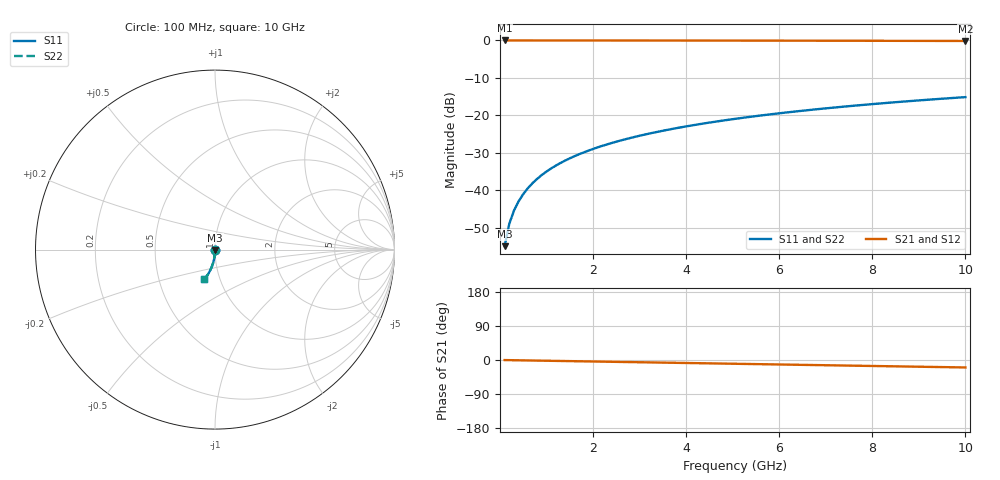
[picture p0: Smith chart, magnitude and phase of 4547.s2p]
# Hz S RI R 50.00
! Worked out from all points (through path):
!   100 points, 100 MHz to 10 GHz, reference 50 ohm
!   highest |S21| = 0.00 dB at 100 MHz (marker M1); lowest = -0.1 dB at 10 GHz (marker M2)
!   group delay of S21, straight-line fit = 5.47 ps
!   lowest |S11| = -54.8 dB at 100 MHz (marker M3), VSWR 1.00, Z = 50 - j0.179 ohm
!   |S11| at or under -10 dB: start of sweep to end of sweep
!   |S22| runs from -54.8 to -15.1 dB; largest |S21 - S12| = 0
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1e8  0.000281 -0.00179  0.9997 -0.00343  0.9997 -0.00343  0.000281 -0.00179
2e8  0.000262 -0.00358  0.9997 -0.00686  0.9997 -0.00686  0.000262 -0.00358
3e8  0.00023 -0.00537  0.9996 -0.0103  0.9996 -0.0103  0.00023 -0.00537
4e8  0.000186 -0.00715  0.9996 -0.0137  0.9996 -0.0137  0.000186 -0.00715
5e8  0.000129 -0.00894  0.9995 -0.0172  0.9995 -0.0172  0.000129 -0.00894
6e8  5.97e-05 -0.0107  0.9994 -0.0206  0.9994 -0.0206  5.97e-05 -0.0107
7e8  -2.18e-05 -0.0125  0.9993 -0.024  0.9993 -0.024  -2.18e-05 -0.0125
8e8  -0.000116 -0.0143  0.9992 -0.0275  0.9992 -0.0275  -0.000116 -0.0143
9e8  -0.000222 -0.0161  0.9991 -0.0309  0.9991 -0.0309  -0.000222 -0.0161
1.1e9  -0.000471 -0.0197  0.9988 -0.0377  0.9988 -0.0377  -0.000471 -0.0197
1.4e9  -0.000938 -0.025  0.9982 -0.048  0.9982 -0.048  -0.000938 -0.025
1.8e9  -0.00173 -0.0321  0.9972 -0.0617  0.9972 -0.0617  -0.00173 -0.0321
2.1e9  -0.00246 -0.0375  0.9963 -0.072  0.9963 -0.072  -0.00246 -0.0375
2.5e9  -0.00359 -0.0446  0.9949 -0.0857  0.9949 -0.0857  -0.00359 -0.0446
2.9e9  -0.00493 -0.0516  0.9933 -0.0994  0.9933 -0.0994  -0.00493 -0.0516
3.4e9  -0.00687 -0.0604  0.9909 -0.1164  0.9909 -0.1164  -0.00687 -0.0604
4.2e9  -0.0106 -0.0743  0.9864 -0.1435  0.9864 -0.1435  -0.0106 -0.0743
5.1e9  -0.0157 -0.0896  0.9801 -0.1738  0.9801 -0.1738  -0.0157 -0.0896
5.9e9  -0.021 -0.103  0.9736 -0.2004  0.9736 -0.2004  -0.021 -0.103
6.7e9  -0.0271 -0.116  0.9661 -0.2268  0.9661 -0.2268  -0.0271 -0.116
8.4e9  -0.0422 -0.1424  0.9474 -0.2816  0.9474 -0.2816  -0.0422 -0.1424
1e10  -0.0591 -0.1654  0.9263 -0.3315  0.9263 -0.3315  -0.0591 -0.1654
